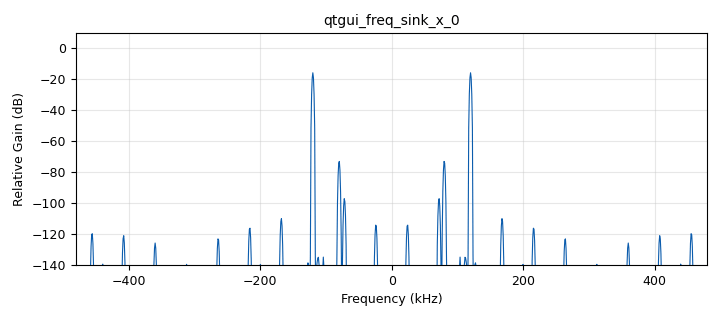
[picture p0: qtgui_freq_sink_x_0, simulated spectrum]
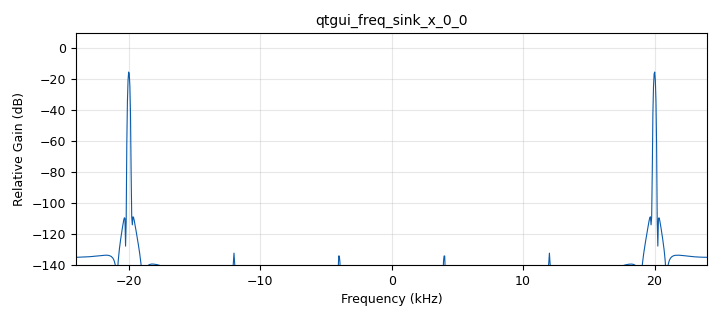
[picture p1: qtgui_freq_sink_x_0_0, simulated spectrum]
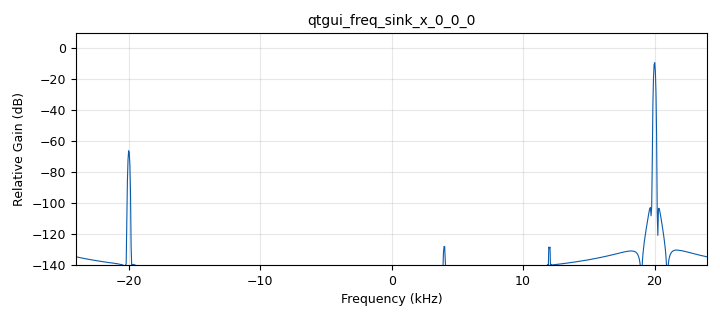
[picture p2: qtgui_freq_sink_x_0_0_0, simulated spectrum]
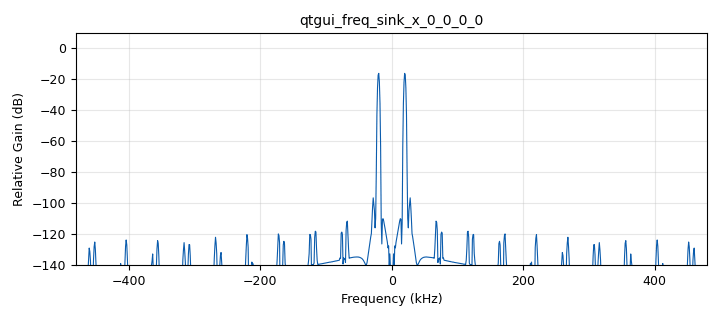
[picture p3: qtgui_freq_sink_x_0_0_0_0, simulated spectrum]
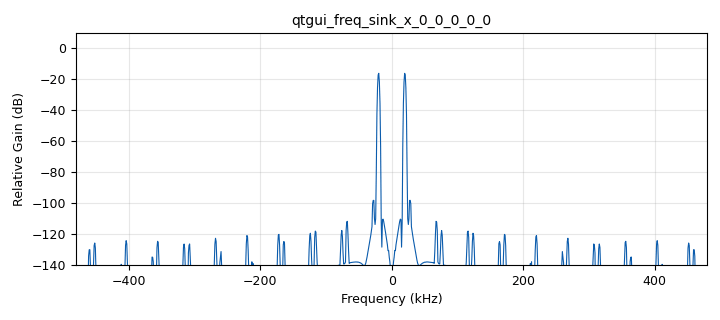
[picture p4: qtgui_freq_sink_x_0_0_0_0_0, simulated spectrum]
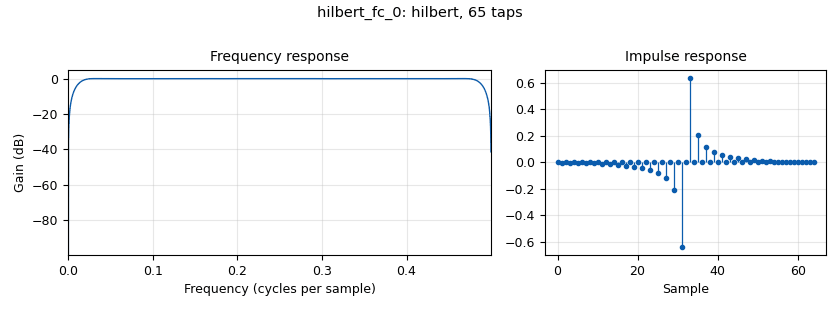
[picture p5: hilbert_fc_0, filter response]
options:
  parameters:
    author: abhi
    generate_options: qt_gui
    id: hilbert
    output_language: python
    title: Not titled yet
  states: {}

blocks:
- name: samp_rate
  id: variable
  parameters:
    value: '48000'
  states: {}
- name: analog_sig_source_x_0
  id: analog_sig_source_x
  parameters:
    amp: '1'
    freq: '100000'
    offset: '0'
    phase: '0'
    samp_rate: '960000'
    type: float
    waveform: analog.GR_COS_WAVE
  states: {}
- name: analog_sig_source_x_0_0
  id: analog_sig_source_x
  parameters:
    amp: '1'
    freq: '100000'
    offset: '0'
    phase: '1.5707963267948966'
    samp_rate: '960000'
    type: float
    waveform: analog.GR_COS_WAVE
  states: {}
- name: analog_sig_source_x_1
  id: analog_sig_source_x
  parameters:
    amp: '1'
    freq: '20000'
    offset: '0'
    phase: '0'
    samp_rate: samp_rate
    type: float
    waveform: analog.GR_COS_WAVE
  states: {}
- name: blocks_add_xx_0
  id: blocks_add_xx
  parameters:
    type: float
  states: {}
- name: blocks_complex_to_imag_0
  id: blocks_complex_to_imag
  parameters: {}
  states: {}
- name: blocks_complex_to_real_0
  id: blocks_complex_to_real
  parameters: {}
  states: {}
- name: blocks_multiply_xx_0
  id: blocks_multiply_xx
  parameters:
    type: float
  states: {}
- name: blocks_multiply_xx_0_0
  id: blocks_multiply_xx
  parameters:
    type: float
  states: {}
- name: blocks_throttle_0
  id: blocks_throttle
  parameters:
    samples_per_second: '960000'
    type: float
  states: {}
- name: hilbert_fc_0
  id: hilbert_fc
  parameters:
    num_taps: '65'
  states: {}
- name: qtgui_freq_sink_x_0
  id: qtgui_freq_sink_x
  parameters:
    bw: '960000'
    fc: '0'
    fftsize: '1024'
    type: float
  states: {}
- name: qtgui_freq_sink_x_0_0
  id: qtgui_freq_sink_x
  parameters:
    bw: samp_rate
    fc: '0'
    fftsize: '1024'
    type: float
  states: {}
- name: qtgui_freq_sink_x_0_0_0
  id: qtgui_freq_sink_x
  parameters:
    bw: samp_rate
    fc: '0'
    fftsize: '1024'
    type: complex
  states: {}
- name: qtgui_freq_sink_x_0_0_0_0
  id: qtgui_freq_sink_x
  parameters:
    bw: 20*samp_rate
    fc: '0'
    fftsize: '1024'
    type: float
  states: {}
- name: qtgui_freq_sink_x_0_0_0_0_0
  id: qtgui_freq_sink_x
  parameters:
    bw: 20*samp_rate
    fc: '0'
    fftsize: '1024'
    type: float
  states: {}
- name: qtgui_time_sink_x_0
  id: qtgui_time_sink_x
  parameters:
    size: '1024'
    srate: samp_rate
    type: float
  states: {state: disabled}
- name: rational_resampler_xxx_0
  id: rational_resampler_xxx
  parameters:
    decim: '48000'
    interp: '960000'
    type: fff
  states: {}
- name: rational_resampler_xxx_0_0
  id: rational_resampler_xxx
  parameters:
    decim: '48000'
    interp: '960000'
    type: fff
  states: {}

connections:
- [analog_sig_source_x_0, '0', blocks_multiply_xx_0, '1']
- [analog_sig_source_x_0_0, '0', blocks_multiply_xx_0_0, '0']
- [analog_sig_source_x_1, '0', hilbert_fc_0, '0']
- [analog_sig_source_x_1, '0', qtgui_freq_sink_x_0_0, '0']
- [blocks_add_xx_0, '0', blocks_throttle_0, '0']
- [blocks_complex_to_imag_0, '0', rational_resampler_xxx_0_0, '0']
- [blocks_complex_to_real_0, '0', rational_resampler_xxx_0, '0']
- [blocks_multiply_xx_0, '0', blocks_add_xx_0, '0']
- [blocks_multiply_xx_0_0, '0', blocks_add_xx_0, '1']
- [blocks_throttle_0, '0', qtgui_freq_sink_x_0, '0']
- [blocks_throttle_0, '0', qtgui_time_sink_x_0, '0']
- [hilbert_fc_0, '0', blocks_complex_to_imag_0, '0']
- [hilbert_fc_0, '0', blocks_complex_to_real_0, '0']
- [hilbert_fc_0, '0', qtgui_freq_sink_x_0_0_0, '0']
- [rational_resampler_xxx_0, '0', blocks_multiply_xx_0, '0']
- [rational_resampler_xxx_0, '0', qtgui_freq_sink_x_0_0_0_0, '0']
- [rational_resampler_xxx_0_0, '0', blocks_multiply_xx_0_0, '1']
- [rational_resampler_xxx_0_0, '0', qtgui_freq_sink_x_0_0_0_0_0, '0']

metadata:
  file_format: 1
